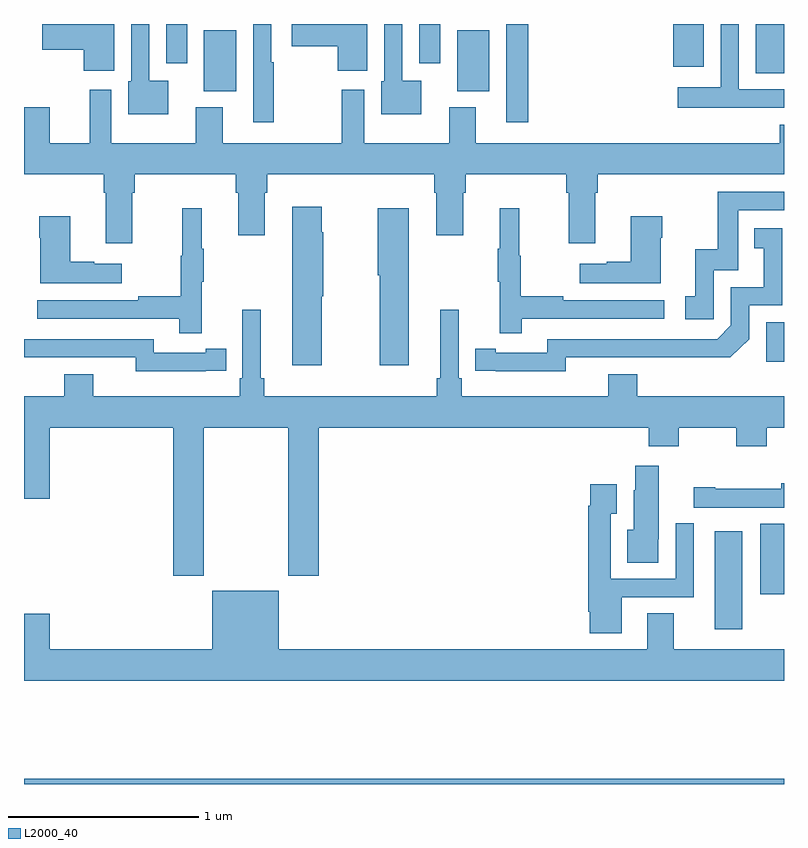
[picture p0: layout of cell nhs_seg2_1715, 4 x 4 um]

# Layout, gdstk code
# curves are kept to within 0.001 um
import gdstk
lib = gdstk.Library(unit=1e-6, precision=1e-09)
def R(c, l, rs):  # rectangles x0, y0, x1, y1
    for r in rs: c.add(gdstk.rectangle(r[:2], r[2:], *l))
def P(c, l, *ps):  # polygons
    for p in ps: c.add(gdstk.Polygon(p, *l))
L2000_40 = (2000, 40)

nhs_seg2_1715 = lib.new_cell('nhs_seg2_1715')
R(nhs_seg2_1715, L2000_40, [(201,605.8,205,605.828), (204.635,606.614,204.781,607.129), (204.875,606.798,205,607.169), (204.906,608.022,205,608.229), (203.538,609.282,203.654,609.8), (201.947,609.446,202.117,609.766), (203.279,609.446,203.449,609.766), (204.851,609.541,205,609.8), (204.416,609.576,204.577,609.8), (201.749,609.594,201.859,609.8), (203.081,609.594,203.191,609.8)])
P(nhs_seg2_1715, L2000_40, [(202.315,609.599),(202.302,609.599),(202.302,609.8),(202.206,609.8),(202.206,609.282),(202.315,609.282)],
  [(202.807,609.8),(202.41,609.8),(202.41,609.683),(202.651,609.683),(202.651,609.555),(202.807,609.555)],
  [(201.475,609.8),(201.096,609.8),(201.096,609.665),(201.314,609.665),(201.314,609.555),(201.475,609.555)],
  [(203.092,609.502),(202.992,609.502),(202.992,609.8),(202.896,609.8),(202.896,609.498),(202.88,609.498),(202.88,609.326),(203.092,609.326)],
  [(204.859,609.36),(205,609.36),(205,609.456),(204.762,609.456),(204.762,609.8),(204.666,609.8),(204.666,609.466),(204.441,609.466),(204.441,609.359),(204.859,609.359)],
  [(201.76,609.502),(201.66,609.502),(201.66,609.8),(201.564,609.8),(201.564,609.498),(201.548,609.498),(201.548,609.326),(201.76,609.326)],
  [(201.571,608.912),(201.584,608.912),(201.584,609.008),(202.115,609.008),(202.115,608.912),(202.127,608.912),(202.127,608.688),(202.267,608.688),(202.267,608.912),(202.28,608.912),(202.28,609.008),(203.159,609.008),(203.159,608.912),(203.171,608.912),(203.171,608.688),(203.311,608.688),(203.311,608.912),(203.324,608.912),(203.324,609.008),(203.855,609.008),(203.855,608.912),(203.867,608.912),(203.867,608.646),(204.007,608.646),(204.007,608.912),(204.02,608.912),(204.02,609.008),(205,609.008),(205,609.271),(204.977,609.271),(204.977,609.172),(203.377,609.172),(203.377,609.361),(203.237,609.361),(203.237,609.172),(202.792,609.172),(202.792,609.454),(202.672,609.454),(202.672,609.172),(202.045,609.172),(202.045,609.361),(201.905,609.361),(201.905,609.172),(201.46,609.172),(201.46,609.454),(201.347,609.454),(201.347,609.172),(201.136,609.172),(201.136,609.361),(201,609.361),(201,609.008),(201.419,609.008),(201.419,608.912),(201.431,608.912),(201.431,608.646),(201.571,608.646)],
  [(204.63,608.505),(204.759,608.505),(204.759,608.82),(205,608.82),(205,608.916),(204.651,608.916),(204.651,608.614),(204.533,608.614),(204.533,608.367),(204.48,608.367),(204.48,608.247),(204.63,608.247)],
  [(202.566,608.367),(202.576,608.367),(202.576,608.703),(202.566,608.703),(202.566,608.839),(202.412,608.839),(202.412,608.004),(202.566,608.004)],
  [(201.935,608.443),(201.946,608.443),(201.946,608.617),(201.935,608.617),(201.935,608.83),(201.832,608.83),(201.832,608.58),(201.825,608.58),(201.825,608.366),(201.601,608.366),(201.601,608.346),(201.069,608.346),(201.069,608.25),(201.817,608.25),(201.817,608.172),(201.935,608.172)],
  [(203.621,608.25),(204.37,608.25),(204.37,608.346),(203.837,608.346),(203.837,608.366),(203.614,608.366),(203.614,608.58),(203.606,608.58),(203.606,608.83),(203.504,608.83),(203.504,608.617),(203.493,608.617),(203.493,608.443),(203.504,608.443),(203.504,608.172),(203.621,608.172)],
  [(203.026,608.83),(202.862,608.83),(202.862,608.478),(202.873,608.478),(202.873,608.004),(203.026,608.004)],
  [(201.514,608.539),(201.371,608.539),(201.371,608.549),(201.244,608.549),(201.244,608.788),(201.079,608.788),(201.079,608.675),(201.086,608.675),(201.086,608.435),(201.514,608.435)],
  [(204.352,608.675),(204.36,608.675),(204.36,608.788),(204.194,608.788),(204.194,608.549),(204.068,608.549),(204.068,608.539),(203.925,608.539),(203.925,608.435),(204.352,608.435)],
  [(203.85,608.046),(204.718,608.045),(204.816,608.142),(204.816,608.319),(204.99,608.319),(204.99,608.725),(204.844,608.725),(204.844,608.619),(204.893,608.619),(204.893,608.415),(204.72,608.415),(204.72,608.214),(204.648,608.142),(203.754,608.142),(203.754,608.07),(203.482,608.07),(203.482,608.09),(203.374,608.09),(203.374,607.974),(203.85,607.973)],
  [(201.945,607.676),(202.39,607.676),(202.39,606.897),(202.55,606.897),(202.55,607.676),(204.287,607.676),(204.287,607.577),(204.447,607.577),(204.447,607.676),(204.748,607.676),(204.748,607.577),(204.908,607.577),(204.908,607.676),(205,607.676),(205,607.84),(204.227,607.84),(204.227,607.957),(204.074,607.957),(204.074,607.84),(203.303,607.84),(203.303,607.936),(203.289,607.936),(203.289,608.296),(203.192,608.296),(203.192,607.936),(203.173,607.936),(203.173,607.84),(202.265,607.84),(202.265,607.936),(202.246,607.936),(202.246,608.296),(202.149,608.296),(202.149,607.936),(202.136,607.936),(202.136,607.84),(201.364,607.84),(201.364,607.957),(201.212,607.957),(201.212,607.84),(201,607.84),(201,607.302),(201.136,607.302),(201.136,607.676),(201.785,607.676),(201.785,606.897),(201.945,606.897)],
  [(201.956,607.974),(202.064,607.974),(202.064,608.09),(201.956,608.09),(201.956,608.07),(201.684,608.07),(201.684,608.142),(201,608.142),(201,608.045),(201.128,608.045),(201.128,608.046),(201.588,608.046),(201.588,607.973),(201.956,607.973)],
  [(204.337,607.089),(204.34,607.089),(204.34,607.474),(204.218,607.474),(204.218,607.347),(204.209,607.347),(204.209,607.138),(204.176,607.138),(204.176,606.964),(204.337,606.964)],
  [(205,607.383),(204.986,607.383),(204.986,607.353),(204.637,607.353),(204.637,607.363),(204.525,607.363),(204.525,607.254),(205,607.254)],
  [(204.145,606.783),(204.525,606.783),(204.525,607.173),(204.429,607.173),(204.429,606.879),(204.087,606.879),(204.087,607.222),(204.121,607.222),(204.121,607.378),(203.979,607.378),(203.979,607.265),(203.971,607.265),(203.971,606.706),(203.978,606.706),(203.978,606.594),(204.145,606.594)],
  [(205,606.508),(204.421,606.508),(204.421,606.698),(204.281,606.698),(204.281,606.508),(202.342,606.508),(202.342,606.817),(201.992,606.817),(201.992,606.508),(201.136,606.508),(201.136,606.697),(201,606.697),(201,606.344),(205,606.344)])

lib.write_gds('nhs_seg2_1715.gds')
